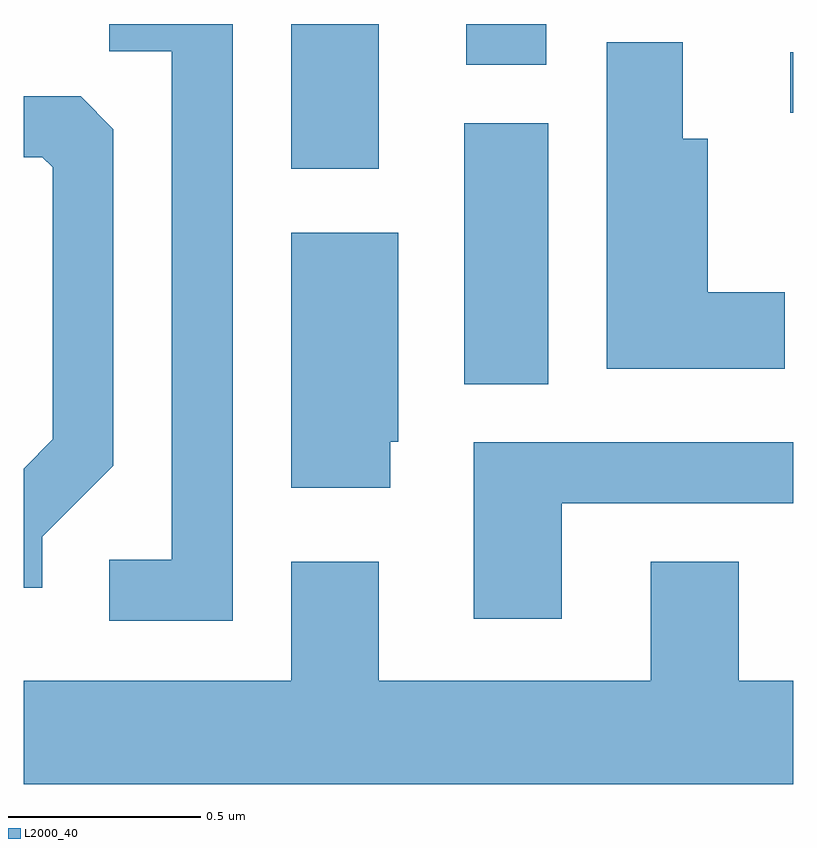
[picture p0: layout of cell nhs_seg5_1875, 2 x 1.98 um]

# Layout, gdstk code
import gdstk
lib = gdstk.Library(unit=1e-6, precision=1e-09)
def R(c, l, rs):  # rectangles x0, y0, x1, y1
    for r in rs: c.add(gdstk.rectangle(r[:2], r[2:], *l))
def P(c, l, *ps):  # polygons
    for p in ps: c.add(gdstk.Polygon(p, *l))
L2000_40 = (2000, 40)

nhs_seg5_1875 = lib.new_cell('nhs_seg5_1875')
R(nhs_seg5_1875, L2000_40, [(199.756,1491.136,199.974,1491.814), (199.306,1491.696,199.534,1492.072), (200.603,1491.841,200.611,1491.999), (199.761,1491.966,199.969,1492.072)])
P(nhs_seg5_1875, L2000_40, [(199.154,1492.072),(198.833,1492.072),(198.833,1492.001),(198.996,1492.001),(198.996,1490.679),(198.833,1490.679),(198.833,1490.521),(199.154,1490.521)],
  [(200.589,1491.374),(200.389,1491.374),(200.389,1491.774),(200.324,1491.774),(200.324,1492.024),(200.126,1492.024),(200.126,1491.176),(200.589,1491.176)],
  [(198.659,1490.739),(198.844,1490.924),(198.844,1491.799),(198.759,1491.884),(198.611,1491.884),(198.611,1491.726),(198.659,1491.726),(198.686,1491.699),(198.686,1490.992),(198.611,1490.916),(198.611,1490.606),(198.659,1490.606)],
  [(199.564,1490.986),(199.584,1490.986),(199.584,1491.529),(199.306,1491.529),(199.306,1490.866),(199.564,1490.866)],
  [(200.009,1490.826),(200.611,1490.826),(200.611,1490.984),(199.781,1490.984),(199.781,1490.526),(200.009,1490.526)],
  [(200.611,1490.364),(200.469,1490.364),(200.469,1490.674),(200.241,1490.674),(200.241,1490.364),(199.534,1490.364),(199.534,1490.674),(199.306,1490.674),(199.306,1490.364),(198.611,1490.364),(198.611,1490.096),(200.611,1490.096)])

lib.write_gds('nhs_seg5_1875.gds')
